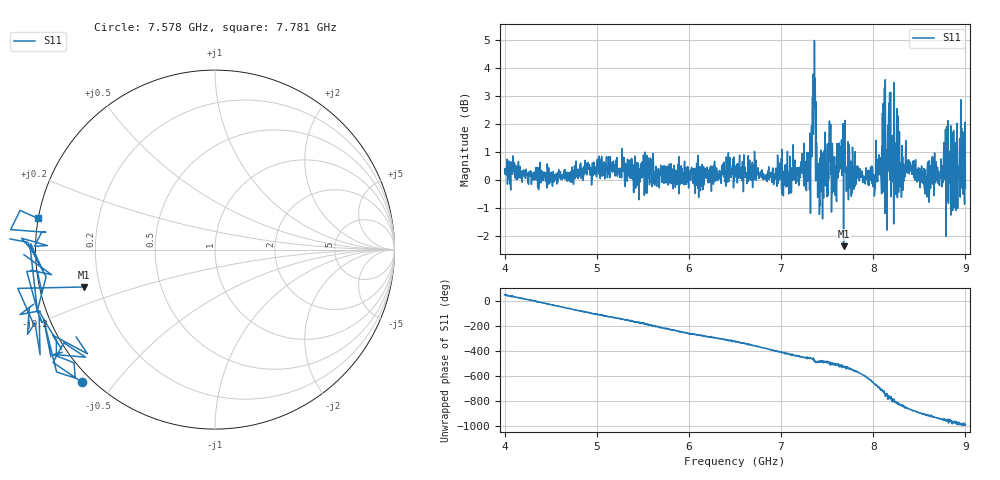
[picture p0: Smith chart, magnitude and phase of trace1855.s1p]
! Created with skrf 1.8.0 (http://scikit-rf.org).
# Hz S RI R 50.0
!freq ReS11 ImS11
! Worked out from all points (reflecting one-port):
!   1601 points, 4 GHz to 9 GHz, reference 50 ohm
!   lowest |S11| = -2.4 dB at 7.678 GHz (marker M1), VSWR 7.35, Z = 6.94 - j6.85 ohm
!   phase of S11 starts at 53 deg and turns -1038 deg over the sweep
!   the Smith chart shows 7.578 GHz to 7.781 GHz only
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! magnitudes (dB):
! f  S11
! 4 GHz  0.4
! 4.625 GHz  0.0
! 5.25 GHz  0.1
! 5.875 GHz  0.1
! 6.5 GHz  0.3
! 7.125 GHz  0.1
! 7.294 GHz  0.0
! 7.319 GHz  -1.2
! 7.353 GHz  2.3
! 7.366 GHz  2.6
! 7.4 GHz  0.0
! 7.438 GHz  -0.3
! 7.519 GHz  0.8
! 7.578 GHz  0.4
! 7.678 GHz  -2.4
! 7.75 GHz  0.2
! 8 GHz  0.1
! 8.109 GHz  2.7
! 8.153 GHz  0.6
! 8.197 GHz  0.0
! 8.253 GHz  1.0
! 8.312 GHz  1.2
! 8.375 GHz  0.7
! 8.556 GHz  -0.3
! 8.759 GHz  0.2
! 8.841 GHz  1.9
! 8.959 GHz  1.9
! 9 GHz  -0.3
